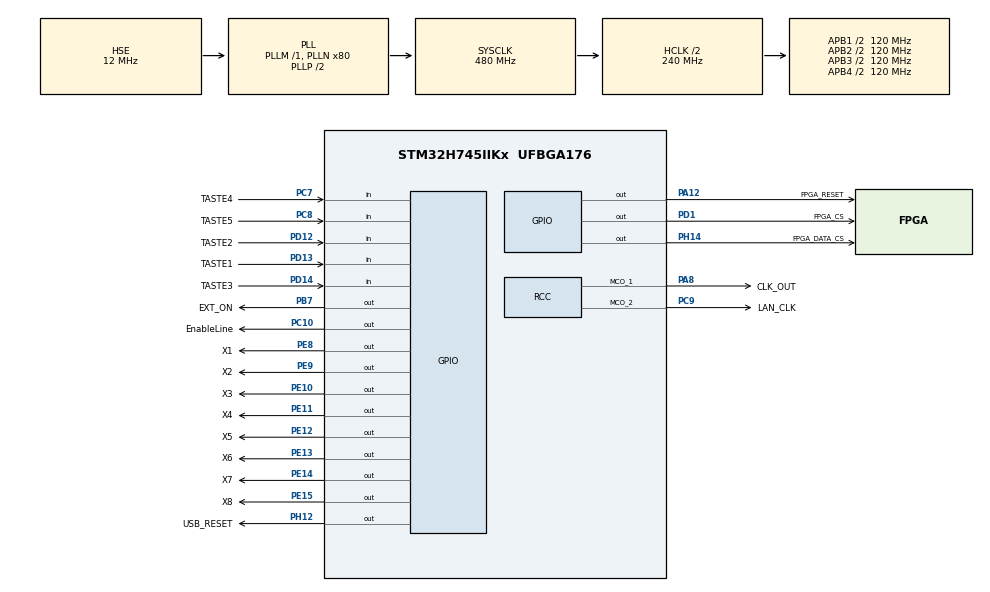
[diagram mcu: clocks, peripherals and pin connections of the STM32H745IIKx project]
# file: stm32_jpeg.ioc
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CORTEX_M7.AccessPermission-Cortex_Memory_Protection_Unit_Region0_Settings=MPU_REGION_FULL_ACCESS
CORTEX_M7.BaseAddress-Cortex_Memory_Protection_Unit_Region0_Settings=0x24000000
CORTEX_M7.CPU_DCache=Enabled
CORTEX_M7.CPU_ICache=Enabled
CORTEX_M7.Enable-Cortex_Memory_Protection_Unit_Region0_Settings=MPU_REGION_ENABLE
CORTEX_M7.MPU_Control=__NULL
CORTEX_M7.Size-Cortex_Memory_Protection_Unit_Region0_Settings=MPU_REGION_SIZE_32KB
CortexM4.IPs=CORTEX_M4\:I,DEBUG,FATFS_M4\:I,FREERTOS_M4\:I,IWDG2\:I,OPENAMP_M4\:I,PDM2PCM_M4\:I,PWR,RCC,RESMGR_UTILITY,SYS_M4\:I,USB_DEVICE_M4\:I,USB_HOST_M4\:I,VREFBUF,WWDG2\:I,DMA,BDMA,MDMA,NVIC2\:I,GPIO
CortexM7.IPs=CORTEX_M7\:I,DEBUG\:I,FATFS_M7\:I,FREERTOS_M7\:I,IWDG1\:I,OPENAMP_M7\:I,PDM2PCM_M7\:I,PWR\:I,RCC\:I,RESMGR_UTILITY\:I,SYS\:I,USB_DEVICE_M7\:I,USB_HOST_M7\:I,VREFBUF\:I,WWDG1\:I,DMA\:I,BDMA\:I,MDMA\:I,NVIC1\:I,GPIO\:I,CRC\:I,JPEG\:I,MEMORYMAP\:I
CortexM7.Pins=PD1,PB7,PH14,PA12,PC10,PC8,PC7,PD14,PD13,PD12,PE14,PE8,PH12,PE12,PE13,PE15,PE10,PE9,PE11
JPEG.JPEG_RGB_FORMAT=JPEG_RGB888
JPEG.JPEG_SWAP_RG=1
JPEG.USE_JPEG_DECODER=0
Mcu.Family=STM32H7
Mcu.Name=STM32H745IIKx
Mcu.Package=UFBGA176
Mdma.MDMA_Channel0.JPEG_INFIFO_TH.0.BlockCount=0
Mdma.MDMA_Channel0.JPEG_INFIFO_TH.0.BlockDataLength=0
Mdma.MDMA_Channel0.JPEG_INFIFO_TH.0.BufferTransferLength=32
Mdma.MDMA_Channel0.JPEG_INFIFO_TH.0.CircularMode=MDMA_LINEAR_LIST
Mdma.MDMA_Channel0.JPEG_INFIFO_TH.0.DataAlignment=MDMA_DATAALIGN_PACKENABLE
Mdma.MDMA_Channel0.JPEG_INFIFO_TH.0.DestBlockAddressOffset=0
Mdma.MDMA_Channel0.JPEG_INFIFO_TH.0.DestBurst=MDMA_DEST_BURST_16BEATS
Mdma.MDMA_Channel0.JPEG_INFIFO_TH.0.DestDataSize=MDMA_DEST_DATASIZE_WORD
Mdma.MDMA_Channel0.JPEG_INFIFO_TH.0.DestinationInc=MDMA_DEST_INC_DISABLE
Mdma.MDMA_Channel0.JPEG_INFIFO_TH.0.DstAddress=0
Mdma.MDMA_Channel0.JPEG_INFIFO_TH.0.Endianness=MDMA_LITTLE_ENDIANNESS_PRESERVE
Mdma.MDMA_Channel0.JPEG_INFIFO_TH.0.Instance=MDMA_Channel0
Mdma.MDMA_Channel0.JPEG_INFIFO_TH.0.MaskAddress=0
Mdma.MDMA_Channel0.JPEG_INFIFO_TH.0.MaskData=0
Mdma.MDMA_Channel0.JPEG_INFIFO_TH.0.Priority=MDMA_PRIORITY_HIGH
Mdma.MDMA_Channel0.JPEG_INFIFO_TH.0.Rank=First
Mdma.MDMA_Channel0.JPEG_INFIFO_TH.0.SourceBlockAddressOffset=0
Mdma.MDMA_Channel0.JPEG_INFIFO_TH.0.SourceBurst=MDMA_SOURCE_BURST_32BEATS
Mdma.MDMA_Channel0.JPEG_INFIFO_TH.0.SourceDataSize=MDMA_SRC_DATASIZE_BYTE
Mdma.MDMA_Channel0.JPEG_INFIFO_TH.0.SourceInc=MDMA_SRC_INC_BYTE
Mdma.MDMA_Channel0.JPEG_INFIFO_TH.0.SrcAddress=0
Mdma.MDMA_Channel0.JPEG_INFIFO_TH.0.TransferTriggerMode=MDMA_BUFFER_TRANSFER
Mdma.MDMA_Channel0.Request0=JPEG_INFIFO_TH
Mdma.MDMA_Channel0.RequestsNb=1
Mdma.MDMA_Channel1.JPEG_OUTFIFO_TH.0.BlockCount=0
Mdma.MDMA_Channel1.JPEG_OUTFIFO_TH.0.BlockDataLength=0
Mdma.MDMA_Channel1.JPEG_OUTFIFO_TH.0.BufferTransferLength=32
Mdma.MDMA_Channel1.JPEG_OUTFIFO_TH.0.CircularMode=MDMA_LINEAR_LIST
Mdma.MDMA_Channel1.JPEG_OUTFIFO_TH.0.DataAlignment=MDMA_DATAALIGN_PACKENABLE
Mdma.MDMA_Channel1.JPEG_OUTFIFO_TH.0.DestBlockAddressOffset=0
Mdma.MDMA_Channel1.JPEG_OUTFIFO_TH.0.DestBurst=MDMA_DEST_BURST_32BEATS
Mdma.MDMA_Channel1.JPEG_OUTFIFO_TH.0.DestDataSize=MDMA_DEST_DATASIZE_BYTE
Mdma.MDMA_Channel1.JPEG_OUTFIFO_TH.0.DestinationInc=MDMA_DEST_INC_BYTE
Mdma.MDMA_Channel1.JPEG_OUTFIFO_TH.0.DstAddress=0
Mdma.MDMA_Channel1.JPEG_OUTFIFO_TH.0.Endianness=MDMA_LITTLE_ENDIANNESS_PRESERVE
Mdma.MDMA_Channel1.JPEG_OUTFIFO_TH.0.Instance=MDMA_Channel1
Mdma.MDMA_Channel1.JPEG_OUTFIFO_TH.0.MaskAddress=0
Mdma.MDMA_Channel1.JPEG_OUTFIFO_TH.0.MaskData=0
Mdma.MDMA_Channel1.JPEG_OUTFIFO_TH.0.Priority=MDMA_PRIORITY_HIGH
Mdma.MDMA_Channel1.JPEG_OUTFIFO_TH.0.Rank=First
Mdma.MDMA_Channel1.JPEG_OUTFIFO_TH.0.SourceBlockAddressOffset=0
Mdma.MDMA_Channel1.JPEG_OUTFIFO_TH.0.SourceBurst=MDMA_SOURCE_BURST_32BEATS
Mdma.MDMA_Channel1.JPEG_OUTFIFO_TH.0.SourceDataSize=MDMA_SRC_DATASIZE_WORD
Mdma.MDMA_Channel1.JPEG_OUTFIFO_TH.0.SourceInc=MDMA_SRC_INC_DISABLE
Mdma.MDMA_Channel1.JPEG_OUTFIFO_TH.0.SrcAddress=0
Mdma.MDMA_Channel1.JPEG_OUTFIFO_TH.0.TransferTriggerMode=MDMA_BUFFER_TRANSFER
Mdma.MDMA_Channel1.Request0=JPEG_OUTFIFO_TH
Mdma.MDMA_Channel1.RequestsNb=1
Mdma.RequestSet0=MDMA_Channel0
Mdma.RequestSet1=MDMA_Channel1
Mdma.RequestSetsNb=2
NVIC1.JPEG_IRQn=true\:0\:0\:false\:false\:true\:true\:true\:true
NVIC1.MDMA_IRQn=true\:0\:0\:false\:false\:true\:false\:true\:true
NVIC1.PriorityGroup=NVIC_PRIORITYGROUP_4
NVIC2.PriorityGroup=NVIC_PRIORITYGROUP_4
PA12.GPIO_Label=FPGA_RESET
PA12.PinAttribute=CortexM7
PA12.Signal=GPIO_Output
PA13\ (JTMS/SWDIO).Mode=JTAG_5_pins
PA13\ (JTMS/SWDIO).PinAttribute=CortexM7
PA13\ (JTMS/SWDIO).Signal=DEBUG_JTMS-SWDIO
PA14\ (JTCK/SWCLK).Mode=JTAG_5_pins
PA14\ (JTCK/SWCLK).PinAttribute=CortexM7
PA14\ (JTCK/SWCLK).Signal=DEBUG_JTCK-SWCLK
PA15\ (JTDI).Mode=JTAG_5_pins
PA15\ (JTDI).PinAttribute=CortexM7
PA15\ (JTDI).Signal=DEBUG_JTDI
PA8.GPIO_Label=CLK_OUT
PA8.GPIO_Speed=GPIO_SPEED_FREQ_VERY_HIGH
PA8.Mode=Clock-out-1
PA8.PinAttribute=CortexM7
PA8.Signal=RCC_MCO_1
PB3\ (JTDO/TRACESWO).Mode=JTAG_5_pins
PB3\ (JTDO/TRACESWO).PinAttribute=CortexM7
PB3\ (JTDO/TRACESWO).Signal=DEBUG_JTDO-SWO
PB4\ (NJTRST).Mode=JTAG_5_pins
PB4\ (NJTRST).PinAttribute=CortexM7
PB4\ (NJTRST).Signal=DEBUG_JTRST
PB7.GPIO_Label=EXT_ON
PB7.PinAttribute=CortexM7
PB7.Signal=GPIO_Output
PC10.GPIO_Label=EnableLine
PC10.PinAttribute=CortexM7
PC10.Signal=GPIO_Output
PC7.GPIO_Label=TASTE4
PC7.PinAttribute=CortexM7
PC7.Signal=GPIO_Input
PC8.GPIO_Label=TASTE5
PC8.PinAttribute=CortexM7
PC8.Signal=GPIO_Input
PC9.GPIO_Label=LAN_CLK
PC9.GPIO_Speed=GPIO_SPEED_FREQ_VERY_HIGH
PC9.Mode=Clock-out-2
PC9.PinAttribute=CortexM7
PC9.Signal=RCC_MCO_2
PD1.GPIO_Label=FPGA_CS
PD1.PinAttribute=CortexM7
PD1.Signal=GPIO_Output
PD12.GPIO_Label=TASTE2
PD12.PinAttribute=CortexM7
PD12.Signal=GPIO_Input
PD13.GPIO_Label=TASTE1
PD13.PinAttribute=CortexM7
PD13.Signal=GPIO_Input
PD14.GPIO_Label=TASTE3
PD14.PinAttribute=CortexM7
PD14.Signal=GPIO_Input
PE10.GPIO_Label=X3
PE10.PinAttribute=CortexM7
PE10.Signal=GPIO_Output
PE11.GPIO_Label=X4
PE11.PinAttribute=CortexM7
PE11.Signal=GPIO_Output
PE12.GPIO_Label=X5
PE12.PinAttribute=CortexM7
PE12.Signal=GPIO_Output
PE13.GPIO_Label=X6
PE13.PinAttribute=CortexM7
PE13.Signal=GPIO_Output
PE14.GPIO_Label=X7
PE14.PinAttribute=CortexM7
PE14.Signal=GPIO_Output
PE15.GPIO_Label=X8
PE15.PinAttribute=CortexM7
PE15.Signal=GPIO_Output
PE5.PinAttribute=CortexM7
PE5.Signal=S_TIM15_CH1
PE8.GPIO_Label=X1
PE8.PinAttribute=CortexM7
PE8.Signal=GPIO_Output
PE9.GPIO_Label=X2
PE9.PinAttribute=CortexM7
PE9.Signal=GPIO_Output
PH0-OSC_IN\ (PH0).Mode=HSE-External-Oscillator
PH0-OSC_IN\ (PH0).PinAttribute=CortexM7
PH0-OSC_IN\ (PH0).Signal=RCC_OSC_IN
PH1-OSC_OUT\ (PH1).Mode=HSE-External-Oscillator
PH1-OSC_OUT\ (PH1).PinAttribute=CortexM7
PH1-OSC_OUT\ (PH1).Signal=RCC_OSC_OUT
PH12.GPIO_Label=USB_RESET
PH12.GPIO_Speed=GPIO_SPEED_FREQ_LOW
PH12.PinAttribute=CortexM7
PH12.PinState=GPIO_PIN_RESET
PH12.Signal=GPIO_Output
PH14.GPIO_Label=FPGA_DATA_CS
PH14.GPIO_Speed=GPIO_SPEED_FREQ_LOW
PH14.PinAttribute=CortexM7
PH14.Signal=GPIO_Output
PH4.PinAttribute=CortexM7
PH4.Signal=I2C2_SCL
PH5.PinAttribute=CortexM7
PH5.Signal=I2C2_SDA
ProjectManager.HeapSize=M4-0x200,M7-0x400
ProjectManager.StackSize=M4-0x400,M7-0x800
ProjectManager.TargetToolchain=STM32CubeIDE
RCC.ADCFreq_Value=150000000
RCC.APB1Freq_Value=120000000
RCC.APB2Freq_Value=120000000
RCC.APB3Freq_Value=120000000
RCC.APB4Freq_Value=120000000
RCC.CortexFreq_Value=480000000
RCC.D1PPRE=RCC_APB3_DIV2
RCC.D2PPRE1=RCC_APB1_DIV2
RCC.D2PPRE2=RCC_APB2_DIV2
RCC.D3PPRE=RCC_APB4_DIV2
RCC.DIVM1=1
RCC.DIVM2=1
RCC.DIVM3=6
RCC.DIVN1=80
RCC.DIVN2=12
RCC.DIVN3=96
RCC.DIVP2=1
RCC.DIVQ1=4
RCC.DIVR2=1
RCC.HCLKFreq_Value=240000000
RCC.HPRE=RCC_HCLK_DIV2
RCC.HSE_VALUE=12000000
RCC.I2C123CLockSelection=RCC_I2C123CLKSOURCE_HSI
RCC.PLL2FRACN=4096
RCC.PLL3FRACN=0
RCC.PLLFRACN=0
RCC.PLLSourceVirtual=RCC_PLLSOURCE_HSE
RCC.PWR_Regulator_Voltage_Scale=PWR_REGULATOR_VOLTAGE_SCALE0
RCC.QSPICLockSelection=RCC_QSPICLKSOURCE_PLL2
RCC.RCC_MCO1Source=RCC_MCO1SOURCE_PLL1QCLK
RCC.RCC_MCO2Source=RCC_MCO2SOURCE_PLL2PCLK
RCC.RCC_MCODiv1=RCC_MCODIV_10
RCC.RCC_MCODiv2=RCC_MCODIV_3
RCC.SPI123CLockSelection=RCC_SPI123CLKSOURCE_PLL2
RCC.SYSCLKFreq_VALUE=480000000
RCC.SYSCLKSource=RCC_SYSCLKSOURCE_PLLCLK
RCC.SupplySource=PWR_LDO_SUPPLY
RCC.USBCLockSelection=RCC_USBCLKSOURCE_HSI48
RCC.USBFreq_Value=48000000
RCC.VDD_VALUE=1.8
SH.S_TIM15_CH1.0=TIM15_CH1
SYS.userName=SYS_M7
VP_CRC_VS_CRC.Mode=CRC_Activate
VP_JPEG_VS_JPEG.Mode=JPEG_Activate
VP_MEMORYMAP_VS_MEMORYMAP.Mode=CurAppReg
VP_SYS_M4_VS_Systick.Mode=SysTick
board=custom

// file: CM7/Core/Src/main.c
/* USER CODE BEGIN Header */
/**
  ******************************************************************************
  * @file           : main.c
  * @brief          : Main program body
  ******************************************************************************
  * @attention
  *
  * Copyright (c) 2025 STMicroelectronics.
  * All rights reserved.
  *
  * This software is licensed under terms that can be found in the LICENSE file
  * in the root directory of this software component.
  * If no LICENSE file comes with this software, it is provided AS-IS.
  *
  ******************************************************************************
  */
/* USER CODE END Header */
#include "main.h"
#include "crc.h"
#include "jpeg.h"
#include "mdma.h"
//#include "memorymap.h"
#include "gpio.h"

/* USER CODE BEGIN Includes */
#include "jpeg_utils.h"
#include "encode_dma.h"

#include "string.h"
#include "stdio.h"
/* USER CODE END Includes */

/* USER CODE BEGIN PD */

#ifndef HSEM_ID_0
#define HSEM_ID_0 (0U) /* HW semaphore 0*/
#endif

/* USER CODE END PD */

/* USER CODE BEGIN PV */
//uint32_t jpgBuffer[1024*20] = {0};

#define SIZE_JPEGBUFFER 1024*32
const uint32_t jpgBuffer[SIZE_JPEGBUFFER] __attribute__((section(".my_const_ram_section")));

uint32_t jpgsize;
extern __IO uint32_t Jpeg_HWEncodingEnd;
uint32_t RGB_ImageAddress = {0};
uint32_t tickstart;

/* USER CODE END PV */

void SystemClock_Config(void);
void PeriphCommonClock_Config(void);
static void MPU_Config(void);

/* USER CODE BEGIN 0 */
void __SystemClock_Config__(void)
{
	RCC_OscInitTypeDef RCC_OscInitStruct = {0};
	RCC_ClkInitTypeDef RCC_ClkInitStruct = {0};

	/** Supply configuration update enable
	 */
	HAL_PWREx_ConfigSupply(PWR_DIRECT_SMPS_SUPPLY);

	/** Configure the main internal regulator output voltage
	 */
	__HAL_PWR_VOLTAGESCALING_CONFIG(PWR_REGULATOR_VOLTAGE_SCALE1);

	while(!__HAL_PWR_GET_FLAG(PWR_FLAG_VOSRDY)) {}

	/** Initializes the RCC Oscillators according to the specified parameters
	 * in the RCC_OscInitTypeDef structure.
	 */
	RCC_OscInitStruct.OscillatorType = RCC_OSCILLATORTYPE_HSI48|RCC_OSCILLATORTYPE_HSI
			|RCC_OSCILLATORTYPE_LSI|RCC_OSCILLATORTYPE_HSE;
	RCC_OscInitStruct.HSEState = RCC_HSE_ON;
	RCC_OscInitStruct.HSIState = RCC_HSI_DIV1;
	RCC_OscInitStruct.HSICalibrationValue = RCC_HSICALIBRATION_DEFAULT;
	RCC_OscInitStruct.LSIState = RCC_LSI_ON;
	RCC_OscInitStruct.HSI48State = RCC_HSI48_ON;
	RCC_OscInitStruct.PLL.PLLState = RCC_PLL_ON;
	RCC_OscInitStruct.PLL.PLLSource = RCC_PLLSOURCE_HSE;
	RCC_OscInitStruct.PLL.PLLM = 1;
	RCC_OscInitStruct.PLL.PLLN = 60;
	RCC_OscInitStruct.PLL.PLLP = 2;
	RCC_OscInitStruct.PLL.PLLQ = 2;
	RCC_OscInitStruct.PLL.PLLR = 2;
	RCC_OscInitStruct.PLL.PLLRGE = RCC_PLL1VCIRANGE_3;
	RCC_OscInitStruct.PLL.PLLVCOSEL = RCC_PLL1VCOWIDE;
	RCC_OscInitStruct.PLL.PLLFRACN = 0;
	if (HAL_RCC_OscConfig(&RCC_OscInitStruct) != HAL_OK)
	{
		Error_Handler();
	}

	/** Initializes the CPU, AHB and APB buses clocks
	 */
	RCC_ClkInitStruct.ClockType = RCC_CLOCKTYPE_HCLK|RCC_CLOCKTYPE_SYSCLK
			|RCC_CLOCKTYPE_PCLK1|RCC_CLOCKTYPE_PCLK2
			|RCC_CLOCKTYPE_D3PCLK1|RCC_CLOCKTYPE_D1PCLK1;
	RCC_ClkInitStruct.SYSCLKSource = RCC_SYSCLKSOURCE_PLLCLK;
	RCC_ClkInitStruct.SYSCLKDivider = RCC_SYSCLK_DIV1;
	RCC_ClkInitStruct.AHBCLKDivider = RCC_HCLK_DIV2;
	RCC_ClkInitStruct.APB3CLKDivider = RCC_APB3_DIV2;
	RCC_ClkInitStruct.APB1CLKDivider = RCC_APB1_DIV2;
	RCC_ClkInitStruct.APB2CLKDivider = RCC_APB2_DIV2;
	RCC_ClkInitStruct.APB4CLKDivider = RCC_APB4_DIV2;

	if (HAL_RCC_ClockConfig(&RCC_ClkInitStruct, FLASH_LATENCY_2) != HAL_OK)
	{
		Error_Handler();
	}
	HAL_RCC_MCOConfig(RCC_MCO1, RCC_MCO1SOURCE_PLL1QCLK, RCC_MCODIV_15);
	HAL_RCC_MCOConfig(RCC_MCO2, RCC_MCO2SOURCE_PLL2PCLK, RCC_MCODIV_6);
}

void RGB_GetInfo(JPEG_ConfTypeDef *pInfo)
{
  /* Read Images Sizes */
  pInfo->ImageWidth         = RGB_IMAGE_WIDTH;
  pInfo->ImageHeight        = RGB_IMAGE_HEIGHT;

  /* Jpeg Encoding Setting to be set by users */
  pInfo->ChromaSubsampling  = JPEG_CHROMA_SAMPLING;
  pInfo->ColorSpace         = JPEG_COLOR_SPACE;
  pInfo->ImageQuality       = JPEG_IMAGE_QUALITY;

  /*Check if Image Sizes meets the requirements */
  if (((pInfo->ImageWidth % 8) != 0 ) || ((pInfo->ImageHeight % 8) != 0 ) || \
      (((pInfo->ImageWidth % 16) != 0 ) && (pInfo->ColorSpace == JPEG_YCBCR_COLORSPACE) && (pInfo->ChromaSubsampling != JPEG_444_SUBSAMPLING)) || \
      (((pInfo->ImageHeight % 16) != 0 ) && (pInfo->ColorSpace == JPEG_YCBCR_COLORSPACE) && (pInfo->ChromaSubsampling == JPEG_420_SUBSAMPLING)))
  {
    Error_Handler();
  }
}

/* USER CODE END 0 */

int main(void)
{

  /* USER CODE BEGIN 1 */
#if (JPEG_RGB_FORMAT == JPEG_ARGB8888)
  RGB_ImageAddress = (uint32_t)Image_ARGB8888;

#elif(JPEG_RGB_FORMAT == JPEG_RGB888)
  RGB_ImageAddress = (uint32_t)Image_RGB888;

#elif(JPEG_RGB_FORMAT == JPEG_RGB565)
  RGB_ImageAddress = (uint32_t)Image_RGB565;

#endif /* JPEG_RGB_FORMAT */

  /* USER CODE END 1 */
/* USER CODE BEGIN Boot_Mode_Sequence_0 */
  //int32_t timeout;
/* USER CODE END Boot_Mode_Sequence_0 */

  /* MPU Configuration--------------------------------------------------------*/
 // MPU_Config();

  /* Enable the CPU Cache */

  /* Enable I-Cache---------------------------------------------------------*/
  SCB_EnableICache();

  /* Enable D-Cache---------------------------------------------------------*/
  SCB_EnableDCache();

/* USER CODE BEGIN Boot_Mode_Sequence_1 */
  SCB_DisableDCache();//wenn SCB_EnableDCache funktioniert der USB nicht

  /* Wait until CPU2 boots and enters in stop mode or timeout*/
//  timeout = 0xFFFF;
//  while((__HAL_RCC_GET_FLAG(RCC_FLAG_D2CKRDY) != RESET) && (timeout-- > 0));
//  if ( timeout < 0 )
//  {
//  Error_Handler();
//  }
/* USER CODE END Boot_Mode_Sequence_1 */
  /* MCU Configuration--------------------------------------------------------*/

  /* Reset of all peripherals, Initializes the Flash interface and the Systick. */
  HAL_Init();

  /* USER CODE BEGIN Init */
  __SystemClock_Config__();
  /* USER CODE END Init */

/* USER CODE BEGIN Boot_Mode_Sequence_2 */
/* When system initialization is finished, Cortex-M7 will release Cortex-M4 by means of
HSEM notification */
/*HW semaphore Clock enable*/
__HAL_RCC_HSEM_CLK_ENABLE();
/*Take HSEM */
HAL_HSEM_FastTake(HSEM_ID_0);
/*Release HSEM in order to notify the CPU2(CM4)*/
HAL_HSEM_Release(HSEM_ID_0,0);
/* wait until CPU2 wakes up from stop mode */
//timeout = 0xFFFF;
//while((__HAL_RCC_GET_FLAG(RCC_FLAG_D2CKRDY) == RESET) && (timeout-- > 0));
//if ( timeout < 0 )
//{
//Error_Handler();
//}
/* USER CODE END Boot_Mode_Sequence_2 */

  /* Initialize all configured peripherals */
  MX_GPIO_Init();
  MX_MDMA_Init();
  MX_CRC_Init();
  MX_JPEG_Init();
  /* USER CODE BEGIN 2 */

  // MPU_Config();
   //tickstart = HAL_GetTick();
  memset(&jpgBuffer[0],0,SIZE_JPEGBUFFER);
  X2_Pin_On;

//  In the user application call function JPEG_InitColorTables to initialize the red, green and blue colors lookup
//  table. This function initializes different lookup tables used to avoid multiplications and floating point
//  calculation during the colors conversions (according to formula given in Figure 1. YCbCr/RGB color
//  conversion). This step must be done only one time in the application even if multiple images must be
//  encoded.
  JPEG_InitColorTables();

   /*JPEG Encoding with DMA (Not Blocking ) Method */
    JPEG_Encode_DMA(&hjpeg, RGB_ImageAddress, RGB_IMAGE_SIZE, (uint32_t *)&jpgBuffer[0]);
    /* Wait till end of JPEG encoding and perform Input/Output Processing in BackGround  */
    uint32_t jpeg_encode_processing_end;
    //tickstart = HAL_GetTick();
    do
    {
        SCB_CleanInvalidateDCache();
        SCB_InvalidateICache();
      JPEG_EncodeInputHandler(&hjpeg);
      jpeg_encode_processing_end = JPEG_EncodeOutputHandler(&hjpeg);
    }while((jpeg_encode_processing_end == 0));// && ((HAL_GetTick() - tickstart) < 5000));

    if (Jpeg_HWEncodingEnd != 0)
    {
      /* test ends properly */
      //BSP_LED_On(LD1);
    }
    else
    {
      /* test error */
      //BSP_LED_On(LD2);
    }
    X2_Pin_Off;
  /* USER CODE END 2 */

  /* Infinite loop */
  /* USER CODE BEGIN WHILE */
  while (1)
  {
	  X1_Pin_Toggle;
    /* USER CODE END WHILE */

  }
}

void SystemClock_Config(void)
{
  RCC_OscInitTypeDef RCC_OscInitStruct = {0};
  RCC_ClkInitTypeDef RCC_ClkInitStruct = {0};

  /** Supply configuration update enable
  */
  HAL_PWREx_ConfigSupply(PWR_LDO_SUPPLY);

  /** Configure the main internal regulator output voltage
  */
  __HAL_PWR_VOLTAGESCALING_CONFIG(PWR_REGULATOR_VOLTAGE_SCALE0);

  while(!__HAL_PWR_GET_FLAG(PWR_FLAG_VOSRDY)) {}

  /** Initializes the RCC Oscillators according to the specified parameters
  * in the RCC_OscInitTypeDef structure.
  */
  RCC_OscInitStruct.OscillatorType = RCC_OSCILLATORTYPE_HSE;
  RCC_OscInitStruct.HSEState = RCC_HSE_ON;
  RCC_OscInitStruct.PLL.PLLState = RCC_PLL_ON;
  RCC_OscInitStruct.PLL.PLLSource = RCC_PLLSOURCE_HSE;
  RCC_OscInitStruct.PLL.PLLM = 1;
  RCC_OscInitStruct.PLL.PLLN = 80;
  RCC_OscInitStruct.PLL.PLLP = 2;
  RCC_OscInitStruct.PLL.PLLQ = 4;
  RCC_OscInitStruct.PLL.PLLR = 2;
  RCC_OscInitStruct.PLL.PLLRGE = RCC_PLL1VCIRANGE_3;
  RCC_OscInitStruct.PLL.PLLVCOSEL = RCC_PLL1VCOWIDE;
  RCC_OscInitStruct.PLL.PLLFRACN = 0;
  if (HAL_RCC_OscConfig(&RCC_OscInitStruct) != HAL_OK)
  {
    Error_Handler();
  }

  /** Initializes the CPU, AHB and APB buses clocks
  */
  RCC_ClkInitStruct.ClockType = RCC_CLOCKTYPE_HCLK|RCC_CLOCKTYPE_SYSCLK
                              |RCC_CLOCKTYPE_PCLK1|RCC_CLOCKTYPE_PCLK2
                              |RCC_CLOCKTYPE_D3PCLK1|RCC_CLOCKTYPE_D1PCLK1;
  RCC_ClkInitStruct.SYSCLKSource = RCC_SYSCLKSOURCE_PLLCLK;
  RCC_ClkInitStruct.SYSCLKDivider = RCC_SYSCLK_DIV1;
  RCC_ClkInitStruct.AHBCLKDivider = RCC_HCLK_DIV2;
  RCC_ClkInitStruct.APB3CLKDivider = RCC_APB3_DIV2;
  RCC_ClkInitStruct.APB1CLKDivider = RCC_APB1_DIV2;
  RCC_ClkInitStruct.APB2CLKDivider = RCC_APB2_DIV2;
  RCC_ClkInitStruct.APB4CLKDivider = RCC_APB4_DIV2;

  if (HAL_RCC_ClockConfig(&RCC_ClkInitStruct, FLASH_LATENCY_4) != HAL_OK)
  {
    Error_Handler();
  }
  __HAL_RCC_PLLCLKOUT_ENABLE(RCC_PLL1_DIVQ);
  HAL_RCC_MCOConfig(RCC_MCO1, RCC_MCO1SOURCE_PLL1QCLK, RCC_MCODIV_10);
  __HAL_RCC_PLL2CLKOUT_ENABLE(RCC_PLL2_DIVP);
  HAL_RCC_MCOConfig(RCC_MCO2, RCC_MCO2SOURCE_PLL2PCLK, RCC_MCODIV_3);
}

void PeriphCommonClock_Config(void)
{

  /** Enables PLL2P clock output
  */
  __HAL_RCC_PLL2_CONFIG(1, 12, 1, 2, 1);
  __HAL_RCC_PLL2_VCIRANGE(RCC_PLL2VCIRANGE_3);
  __HAL_RCC_PLL2_VCORANGE(RCC_PLL2VCOMEDIUM);
  __HAL_RCC_PLL2_ENABLE();
}

 /* MPU Configuration */

//void MPU_Config(void)
//{
//  MPU_Region_InitTypeDef MPU_InitStruct = {0};
//
//  /* Disables the MPU */
//  HAL_MPU_Disable();
//
//  /** Initializes and configures the Region and the memory to be protected
//  */
//  MPU_InitStruct.Enable = MPU_REGION_ENABLE;
//  MPU_InitStruct.Number = MPU_REGION_NUMBER0;
//  MPU_InitStruct.BaseAddress = 0x24000000;
//  MPU_InitStruct.Size = MPU_REGION_SIZE_32KB;
//  MPU_InitStruct.SubRegionDisable = 0x0;
//  MPU_InitStruct.TypeExtField = MPU_TEX_LEVEL0;
//  MPU_InitStruct.AccessPermission = MPU_REGION_NO_ACCESS;
//  MPU_InitStruct.DisableExec = MPU_INSTRUCTION_ACCESS_ENABLE;
//  MPU_InitStruct.IsShareable = MPU_ACCESS_NOT_SHAREABLE;
//  MPU_InitStruct.IsCacheable = MPU_ACCESS_NOT_CACHEABLE;
//  MPU_InitStruct.IsBufferable = MPU_ACCESS_NOT_BUFFERABLE;
//
//  HAL_MPU_ConfigRegion(&MPU_InitStruct);
//  /* Enables the MPU */
//  HAL_MPU_Enable(MPU_HFNMI_PRIVDEF_NONE);
//
//}

void Error_Handler(void)
{
  __disable_irq();
  while (1)
  {
  }
}
